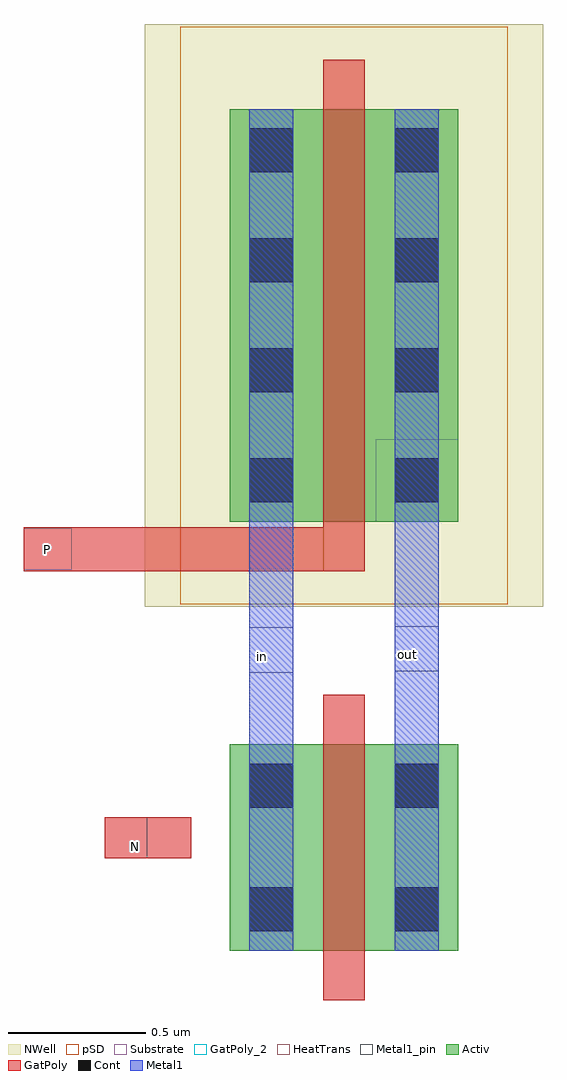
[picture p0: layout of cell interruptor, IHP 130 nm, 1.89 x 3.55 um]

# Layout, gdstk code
import gdstk
lib = gdstk.Library(unit=1e-6, precision=5e-09)
def R(c, l, rs):  # rectangles x0, y0, x1, y1
    for r in rs: c.add(gdstk.rectangle(r[:2], r[2:], *l))
def A(c, l, x, y, w, h, nx, ny, dx, dy):  # array of equal rectangles
    R(c, l, [(x+i*dx, y+j*dy, x+i*dx+w, y+j*dy+h) for i in range(nx) for j in range(ny)])
Activ = (1, 0)
GatPoly = (5, 0)
GatPoly_2 = (5, 2)
Cont = (6, 0)
Metal1 = (8, 0)
Metal1_pin = (8, 2)
pSD = (14, 0)
NWell = (31, 0)
Substrate = (40, 0)
HeatTrans = (51, 0)

nmos = lib.new_cell('nmos')
R(nmos, Activ, [(0,0,0.3,0.3), (0,0,0.83,0.75), (0.53,0,0.83,0.3)])
R(nmos, GatPoly, [(0.34,-0.18,0.49,0.93)])
R(nmos, GatPoly_2, [(0.34,-0.18,0.49,0.93)])
R(nmos, Cont, [(0.07,0.07,0.23,0.23), (0.6,0.07,0.76,0.23), (0.07,0.52,0.23,0.68), (0.6,0.52,0.76,0.68)])
R(nmos, Metal1, [(0.07,0,0.23,0.75), (0.6,0,0.76,0.75)])
R(nmos, Metal1_pin, [(0.07,0,0.23,0.75), (0.6,0,0.76,0.75)])
R(nmos, HeatTrans, [(0.34,-0.18,0.49,0.93)])
nmos.add(gdstk.Label('nmos', (0.415,0.375), layer=63, texttype=0))
nmos.add(gdstk.Label('nmos', (0.415,0.375), layer=51, texttype=0))

pmos_1 = lib.new_cell('pmos$1')
R(pmos_1, Activ, [(0,0,0.3,0.3), (0,0,0.83,1.5), (0.53,0,0.83,0.3)])
R(pmos_1, GatPoly, [(0.34,-0.18,0.49,1.68), (0.34,-0.18,0.49,1.68)])
A(pmos_1, Cont, 0.07, 0.07, 0.16, 0.16, 1, 4, 0, 0.4)
A(pmos_1, Cont, 0.6, 0.07, 0.16, 0.16, 1, 4, 0, 0.4)
R(pmos_1, Metal1, [(0.07,0,0.23,1.5), (0.07,0,0.23,1.5), (0.6,0,0.76,1.5), (0.6,0,0.76,1.5)])
R(pmos_1, pSD, [(-0.18,-0.3,1.01,1.8)])
R(pmos_1, NWell, [(-0.31,-0.31,1.14,1.81)])
R(pmos_1, Substrate, [(0.53,0,0.83,0.3)])
R(pmos_1, HeatTrans, [(0.34,-0.18,0.49,1.68)])
pmos_1.add(gdstk.Label('pmos', (0.415,0.75), layer=63, texttype=0))
pmos_1.add(gdstk.Label('pmos', (0.415,0.75), layer=51, texttype=0))

interruptor = lib.new_cell('interruptor')
R(interruptor, GatPoly, [(2.72,2.44,3.035,2.59), (2.425,3.485,3.665,3.645)])
R(interruptor, GatPoly_2, [(2.72,2.44,2.875,2.59), (2.425,3.49,2.6,3.64)])
R(interruptor, Metal1, [(3.775,2.66,3.935,3.885), (3.245,2.735,3.405,4.385)])
R(interruptor, Metal1_pin, [(3.245,3.115,3.405,3.28), (3.775,3.12,3.935,3.285)])
interruptor.add(gdstk.Reference(nmos, (3.175,2.105)))
interruptor.add(gdstk.Reference(pmos_1, (3.175,3.665)))
interruptor.add(gdstk.Label('out', (3.82,3.18), layer=8, texttype=2))
interruptor.add(gdstk.Label('in', (3.295,3.175), layer=8, texttype=2))
interruptor.add(gdstk.Label('N', (2.83,2.485), layer=5, texttype=2))
interruptor.add(gdstk.Label('P', (2.51,3.565), layer=5, texttype=2))

lib.write_gds('interruptor.gds')
